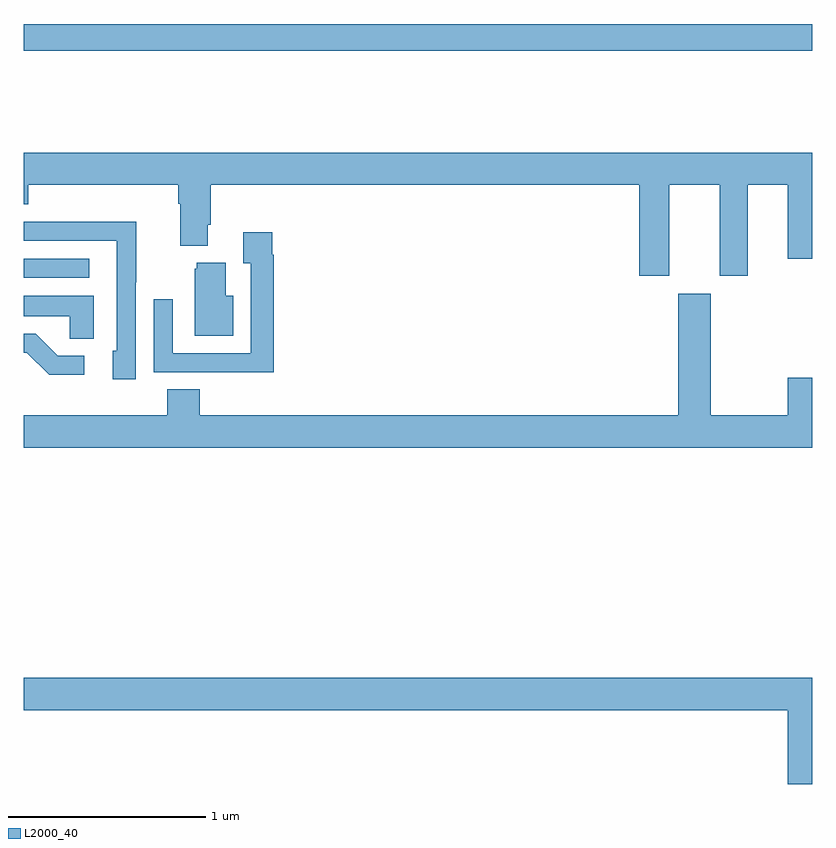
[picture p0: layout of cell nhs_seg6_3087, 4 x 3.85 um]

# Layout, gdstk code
import gdstk
lib = gdstk.Library(unit=1e-6, precision=1e-09)
def R(c, l, rs):  # rectangles x0, y0, x1, y1
    for r in rs: c.add(gdstk.rectangle(r[:2], r[2:], *l))
def P(c, l, *ps):  # polygons
    for p in ps: c.add(gdstk.Polygon(p, *l))
L2000_40 = (2000, 40)

nhs_seg6_3087 = lib.new_cell('nhs_seg6_3087')
R(nhs_seg6_3087, L2000_40, [(293,940.206,293.332,940.302), (293,941.356,297,941.492)])
P(nhs_seg6_3087, L2000_40, [(296.275,940.676),(296.531,940.676),(296.531,940.215),(296.671,940.215),(296.671,940.676),(296.876,940.676),(296.876,940.302),(297,940.302),(297,940.84),(293,940.84),(293,940.577),(293.024,940.577),(293.024,940.676),(293.783,940.676),(293.783,940.58),(293.795,940.58),(293.795,940.367),(293.935,940.367),(293.935,940.474),(293.948,940.474),(293.948,940.676),(296.123,940.676),(296.123,940.215),(296.275,940.215)],
  [(293.568,940.183),(293.571,940.183),(293.571,940.49),(293.107,940.49),(293.107,940.488),(293,940.488),(293,940.392),(293.472,940.392),(293.472,939.834),(293.453,939.834),(293.453,939.69),(293.568,939.69)],
  [(294.269,940.322),(294.262,940.322),(294.262,940.435),(294.113,940.435),(294.113,940.279),(294.153,940.279),(294.153,939.822),(293.757,939.822),(293.757,940.096),(293.661,940.096),(293.661,939.726),(293.977,939.726),(293.977,939.725),(294.269,939.725)],
  [(294.064,940.114),(294.025,940.114),(294.025,940.282),(293.879,940.282),(293.879,940.251),(293.867,940.251),(293.867,939.911),(294.064,939.911)],
  [(297,939.697),(296.876,939.697),(296.876,939.508),(296.485,939.508),(296.485,940.123),(296.321,940.123),(296.321,939.508),(293.894,939.508),(293.894,939.641),(293.729,939.641),(293.729,939.508),(293,939.508),(293,939.344),(297,939.344)],
  [(293.356,940.114),(293,940.114),(293,940.01),(293.235,940.01),(293.235,939.895),(293.356,939.895)],
  [(293.308,939.81),(293.173,939.81),(293.062,939.921),(293,939.921),(293,939.825),(293.016,939.825),(293.129,939.713),(293.308,939.713)],
  [(297,938.176),(293,938.176),(293,938.012),(296.876,938.012),(296.876,937.638),(297,937.638)])

lib.write_gds('nhs_seg6_3087.gds')
